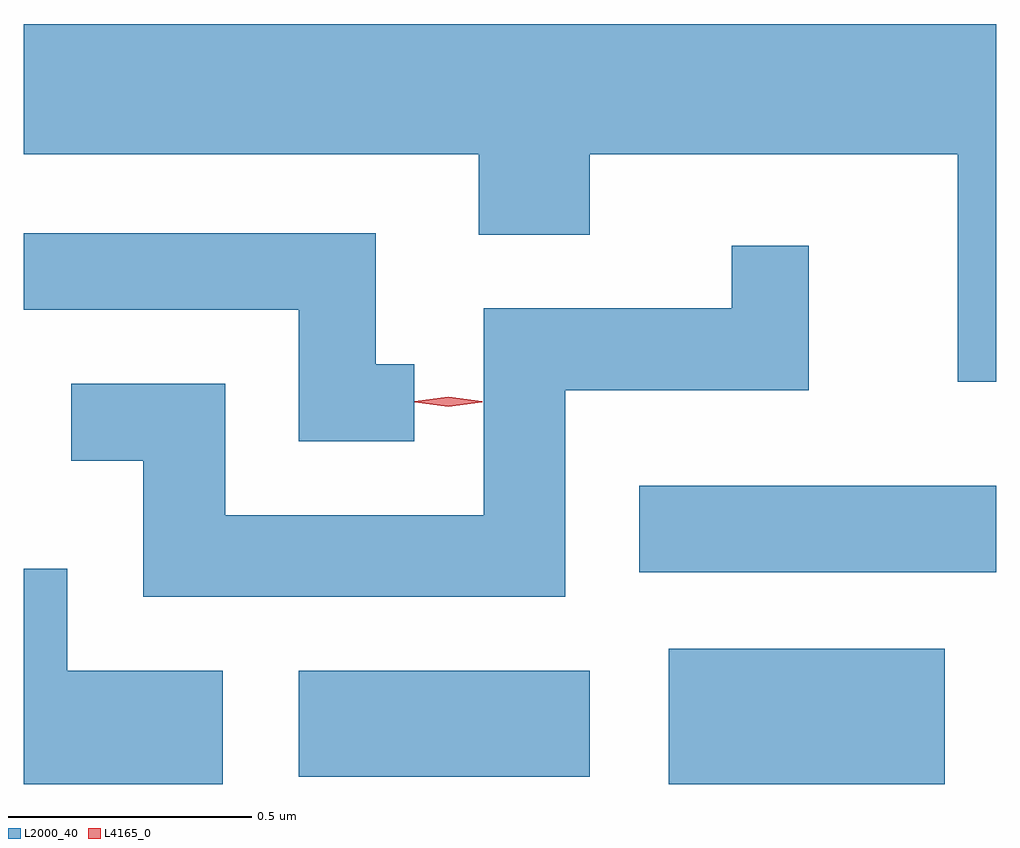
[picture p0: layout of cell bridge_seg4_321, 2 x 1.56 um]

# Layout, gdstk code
import gdstk
lib = gdstk.Library(unit=1e-6, precision=1e-09)
def R(c, l, rs):  # rectangles x0, y0, x1, y1
    for r in rs: c.add(gdstk.rectangle(r[:2], r[2:], *l))
def P(c, l, *ps):  # polygons
    for p in ps: c.add(gdstk.Polygon(p, *l))
L2000_40 = (2000, 40)
L4165_0 = (4165, 0)

bridge_seg4_321 = lib.new_cell('bridge_seg4_321')
R(bridge_seg4_321, L2000_40, [(531.311,1269.021,531.879,1269.299), (530.551,1269.036,531.149,1269.254), (531.251,1269.456,531.985,1269.634)])
P(bridge_seg4_321, L2000_40, [(531.985,1270.584),(529.985,1270.584),(529.985,1270.316),(530.921,1270.316),(530.921,1270.151),(531.149,1270.151),(531.149,1270.316),(531.906,1270.316),(531.906,1269.848),(531.985,1269.848)],
  [(530.788,1269.884),(530.709,1269.884),(530.709,1270.154),(529.985,1270.154),(529.985,1269.996),(530.551,1269.996),(530.551,1269.726),(530.788,1269.726)],
  [(531.099,1269.831),(531.599,1269.831),(531.599,1270.128),(531.441,1270.128),(531.441,1269.999),(530.931,1269.999),(530.931,1269.574),(530.399,1269.574),(530.399,1269.844),(530.083,1269.844),(530.083,1269.686),(530.231,1269.686),(530.231,1269.406),(531.099,1269.406)],
  [(530.394,1269.254),(530.074,1269.254),(530.074,1269.464),(529.985,1269.464),(529.985,1269.021),(530.394,1269.021)])
P(bridge_seg4_321, L4165_0, [(530.858,1269.797),(530.789,1269.806),(530.789,1269.807),(530.789,1269.808),(530.858,1269.817),(530.928,1269.808),(530.928,1269.807),(530.928,1269.806)])

lib.write_gds('bridge_seg4_321.gds')
